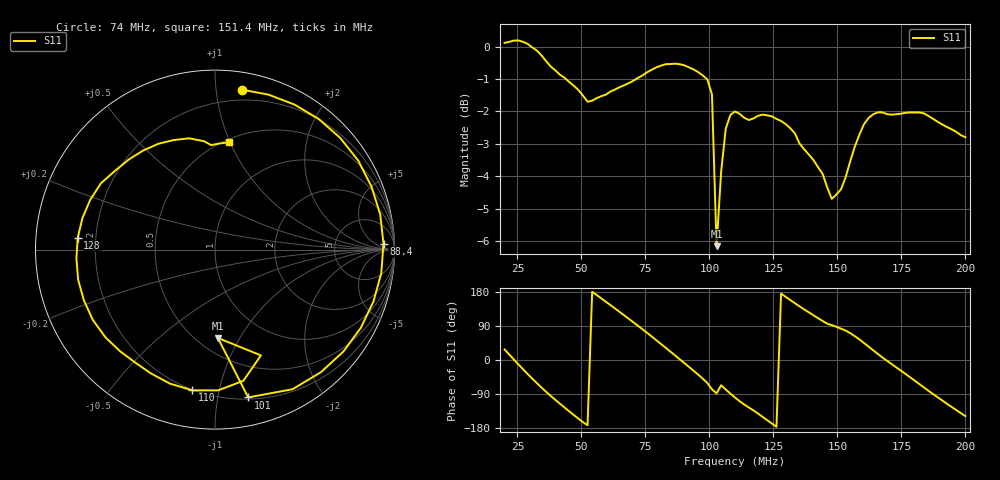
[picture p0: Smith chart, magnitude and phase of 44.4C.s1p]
# HZ S RI R 50
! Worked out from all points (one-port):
!   101 points, 20 MHz to 200 MHz, reference 50 ohm
!   lowest |S11| = -6.2 dB at 102.8 MHz (marker M1), VSWR 2.94, Z = 31.3 - j40.7 ohm
!   |S11| at or under -10 dB: nowhere
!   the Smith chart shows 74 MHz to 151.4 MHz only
!   S11 on the Smith chart (normalised r, x): 74 MHz: 0.12, +1.18; 88.4 MHz: 25, +13; 101 MHz: 0.21, -1.23; 110 MHz: 0.20, -0.83; 128 MHz: 0.13, +0.04; 151.4 MHz: 0.53, +0.99
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2e7  0.8959 0.4732
2.54e7  1.001 -0.2056
3.26e7  0.4766 -0.863
3.8e7  -0.0764 -0.9286
4.34e7  -0.5166 -0.7312
4.88e7  -0.775 -0.3668
5.42e7  -0.8252 0.000957
6.5e7  -0.5143 0.6967
7.4e7  0.1503 0.8908
8.12e7  0.6982 0.6216
8.84e7  0.9388 0.0318
9.56e7  0.7153 -0.568
1.01e8  0.1849 -0.8235
1.028e8  0.0159 -0.4922
1.046e8  0.2559 -0.5894
1.1e8  -0.1261 -0.7841
1.208e8  -0.6812 -0.391
1.28e8  -0.7651 0.0643
1.334e8  -0.6352 0.3699
1.406e8  -0.3161 0.5895
1.514e8  0.0772 0.5976
1.55e8  0.2174 0.6289
1.604e8  0.5389 0.535
1.658e8  0.7609 0.2192
1.73e8  0.742 -0.2612
1.784e8  0.5532 -0.5659
1.874e8  -0.000523 -0.7736
2e8  -0.6154 -0.383
